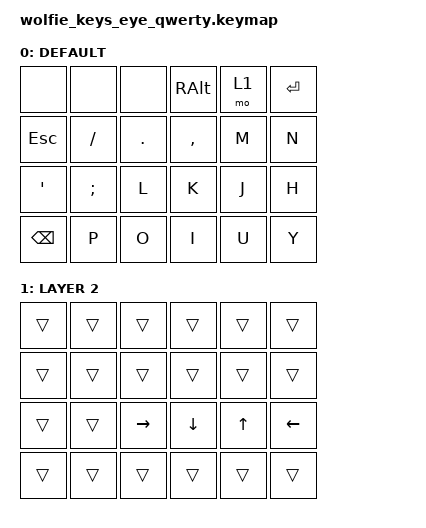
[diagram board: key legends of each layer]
#include <behaviors.dtsi>
#include <dt-bindings/zmk/keys.h>

/*
 * Right-hand keyboard, viewed from above, left-to-right:
 *   Y   U   I   O   P   BSPC
 *   H   J   K   L   ;   '
 *   N   M   ,   .   /   ESC
 *   ENTER LAYER2 RALT (AltGr) NONE (four thumb switches)
 *
 * The test showed the scan map is reversed in both axes:
 * top=XWVUTS, middle=RQPONM, bottom=LKJIHG, thumbs=FEDC.
 * Positions 0 and 1 of the original 24-key matrix are unwired.
 */
/ {
    keymap {
        compatible = "zmk,keymap";
        default_layer {
            display-name = "DEFAULT";
            bindings = <
                /* Matrix row 0 (scan indices 0..5): two unused then four thumbs in reverse */
                &none &none &none &kp RALT &mo 1 &kp RET
                /* Matrix row 1: bottom alphabet row, reverse physical order */
                &kp ESC &kp FSLH &kp DOT &kp COMMA &kp M &kp N
                /* Matrix row 2: home row, reverse physical order */
                &kp SQT &kp SEMI &kp L &kp K &kp J &kp H
                /* Matrix row 3: top row, reverse physical order */
                &kp BSPC &kp P &kp O &kp I &kp U &kp Y
            >;
        };
        nav_layer {
            display-name = "LAYER 2";
            bindings = <
                &trans &trans &trans &trans &trans &trans
                &trans &trans &trans &trans &trans &trans
                &trans &trans &kp RIGHT &kp DOWN &kp UP &kp LEFT
                &trans &trans &trans &trans &trans &trans
            >;
        };
    };
};
